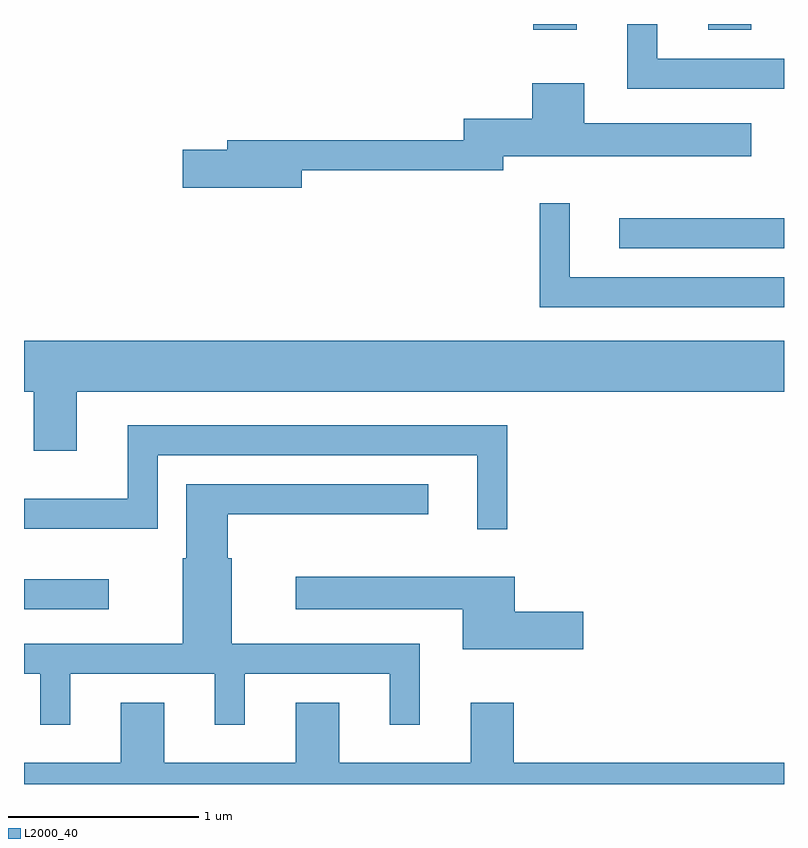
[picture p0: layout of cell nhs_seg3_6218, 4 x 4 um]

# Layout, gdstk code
import gdstk
lib = gdstk.Library(unit=1e-6, precision=1e-09)
def R(c, l, rs):  # rectangles x0, y0, x1, y1
    for r in rs: c.add(gdstk.rectangle(r[:2], r[2:], *l))
def P(c, l, *ps):  # polygons
    for p in ps: c.add(gdstk.Polygon(p, *l))
L2000_40 = (2000, 40)

nhs_seg3_6218 = lib.new_cell('nhs_seg3_6218')
R(nhs_seg3_6218, L2000_40, [(367.611,1184.811,368.058,1184.969), (370.743,1186.711,371.611,1186.869), (370.291,1187.861,370.519,1187.892), (371.211,1187.861,371.439,1187.892)])
P(nhs_seg3_6218, L2000_40, [(371.611,1187.709),(370.944,1187.709),(370.944,1187.892),(370.786,1187.892),(370.786,1187.551),(371.611,1187.551)],
  [(369.074,1187.121),(370.134,1187.121),(370.134,1187.196),(371.439,1187.196),(371.439,1187.369),(370.559,1187.369),(370.559,1187.579),(370.286,1187.579),(370.286,1187.394),(369.926,1187.394),(369.926,1187.279),(368.681,1187.279),(368.681,1187.229),(368.446,1187.229),(368.446,1187.031),(369.074,1187.031)],
  [(371.611,1186.559),(370.484,1186.559),(370.484,1186.948),(370.326,1186.948),(370.326,1186.401),(371.611,1186.401)],
  [(367.889,1185.956),(371.611,1185.956),(371.611,1186.224),(367.611,1186.224),(367.611,1185.956),(367.661,1185.956),(367.661,1185.646),(367.889,1185.646)],
  [(370.154,1185.779),(368.156,1185.779),(368.156,1185.394),(367.611,1185.394),(367.611,1185.236),(368.314,1185.236),(368.314,1185.621),(369.996,1185.621),(369.996,1185.233),(370.154,1185.233)],
  [(367.854,1184.471),(368.616,1184.471),(368.616,1184.203),(368.774,1184.203),(368.774,1184.471),(369.536,1184.471),(369.536,1184.203),(369.694,1184.203),(369.694,1184.629),(368.704,1184.629),(368.704,1185.079),(368.684,1185.079),(368.684,1185.311),(369.738,1185.311),(369.738,1185.469),(368.466,1185.469),(368.466,1185.079),(368.446,1185.079),(368.446,1184.629),(367.611,1184.629),(367.611,1184.471),(367.696,1184.471),(367.696,1184.203),(367.854,1184.203)],
  [(370.554,1184.799),(370.194,1184.799),(370.194,1184.984),(369.041,1184.984),(369.041,1184.811),(369.921,1184.811),(369.921,1184.601),(370.554,1184.601)],
  [(371.611,1184.004),(370.189,1184.004),(370.189,1184.319),(369.961,1184.319),(369.961,1184.004),(369.269,1184.004),(369.269,1184.319),(369.041,1184.319),(369.041,1184.004),(368.349,1184.004),(368.349,1184.319),(368.121,1184.319),(368.121,1184.004),(367.611,1184.004),(367.611,1183.892),(371.611,1183.892)])

lib.write_gds('nhs_seg3_6218.gds')
